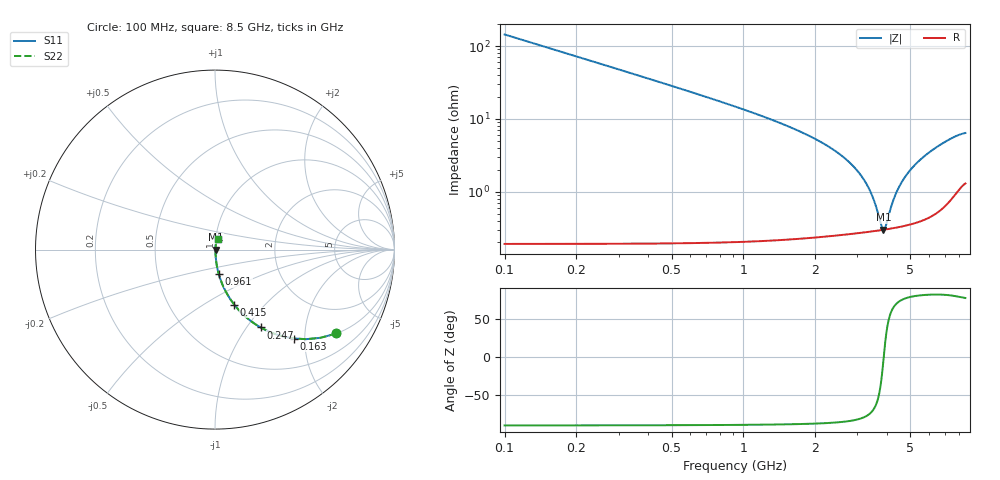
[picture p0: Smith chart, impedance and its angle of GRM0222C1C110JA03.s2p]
!Murata Part Number: GRM0222C1C110JA03
!These Parameters are Measured in Series Mode Connection
!Data Generated on Mar 30, 2021
!  o--ll--o
!Port1  Port2
!  o------o
!Operation Temp=25[degC], DC Bias Voltage=0[V]
!Freq. Start=100[MHz] Stop=9[GHz] 401[Steps]
# Hz S RI R 50
!Freq.(Hz) S11(Real) S11(Imag) S21(Real) S21(Imag) S12(Real) S12(Imag) S22(Real) S22(Imag)
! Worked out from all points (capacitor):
!   401 points, 100 MHz to 8.5 GHz, reference 50 ohm
!   read as one part in series: C = 11 pF near 142 MHz
!   lowest |Z| = 299 mohm at 3.859 GHz (marker M1)
!   series resonance near 3.867 GHz, so ESL is about 150 pH
!   S11 on the Smith chart (normalised r, x): 100 MHz: 1.00, -2.89; 163 MHz: 1.00, -1.77; 247 MHz: 1.00, -1.17; 415 MHz: 1.00, -0.69; 961 MHz: 1.00, -0.28; 8.5 GHz: 1.03, +0.13
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1e8  0.6762 -0.4673  0.3238 0.4673  0.3238 0.4673  0.6762 -0.4673
1.63e8  0.4399 -0.4953  0.5601 0.4953  0.5601 0.4953  0.4399 -0.4953
2.47e8  0.2546 -0.434  0.7454 0.434  0.7454 0.434  0.2546 -0.434
3.31e8  0.1595 -0.364  0.8405 0.364  0.8405 0.364  0.1595 -0.364
4.15e8  0.1075 -0.3069  0.8925 0.3069  0.8925 0.3069  0.1075 -0.3069
6.46e8  0.0469 -0.207  0.9531 0.207  0.9531 0.207  0.0469 -0.207
9.61e8  0.0214 -0.1378  0.9786 0.1378  0.9786 0.1378  0.0214 -0.1378
1.507e9  0.00869 -0.0804  0.9913 0.0804  0.9913 0.0804  0.00869 -0.0804
2.431e9  0.00375 -0.0357  0.9962 0.0357  0.9962 0.0357  0.00375 -0.0357
2.914e9  0.00309 -0.0213  0.9969 0.0213  0.9969 0.0213  0.00309 -0.0213
3.397e9  0.0029 -0.00965  0.9971 0.00965  0.9971 0.00965  0.0029 -0.00965
3.565e9  0.0029 -0.00605  0.9971 0.00605  0.9971 0.00605  0.0029 -0.00605
3.775e9  0.00295 -0.00179  0.9971 0.00179  0.9971 0.00179  0.00295 -0.00179
3.859e9  0.00298 -0.000155  0.997 0.000155  0.997 0.000155  0.00298 -0.000155
3.943e9  0.00301 0.00145  0.997 -0.00145  0.997 -0.00145  0.00301 0.00145
4.153e9  0.00312 0.00531  0.9969 -0.00531  0.9969 -0.00531  0.00312 0.00531
4.3e9  0.00322 0.00791  0.9968 -0.00791  0.9968 -0.00791  0.00322 0.00791
4.552e9  0.00342 0.0122  0.9966 -0.0122  0.9966 -0.0122  0.00342 0.0122
4.846e9  0.00372 0.017  0.9963 -0.017  0.9963 -0.017  0.00372 0.017
5.707e9  0.00496 0.0299  0.995 -0.0299  0.995 -0.0299  0.00496 0.0299
7.114e9  0.00904 0.0488  0.991 -0.0488  0.991 -0.0488  0.00904 0.0488
8.5e9  0.0165 0.0608  0.9835 -0.0608  0.9835 -0.0608  0.0165 0.0608
